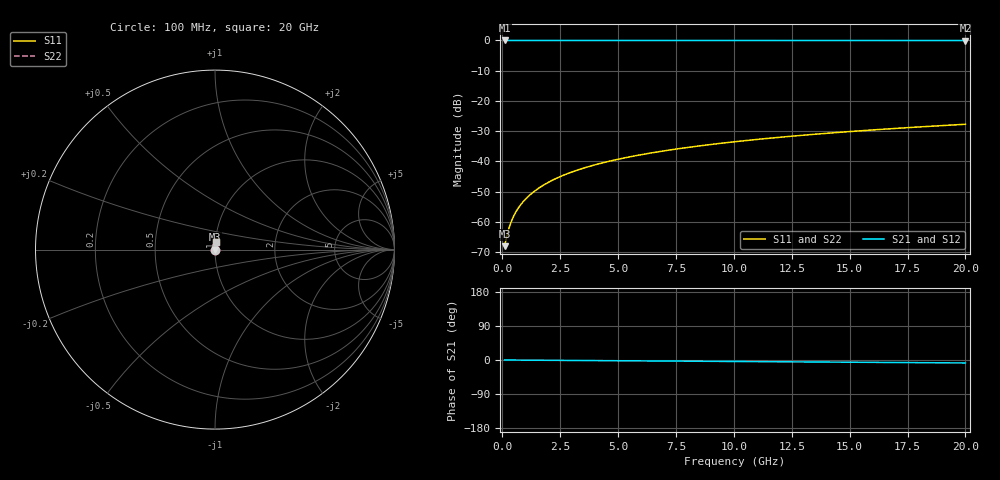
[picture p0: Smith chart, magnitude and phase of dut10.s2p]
! Touchstone file exported from HFSS 2026.1.0
!  File:  C:/ffzhzh/LocalFiles/Ansys_Project_Files/temp_test_TSV_10_1782978200_45568.aedt
!  Generated:  03:44:54 PM Jul  2, 2026
!  Design:  TSV
!  Project:  temp_test_TSV_10_1782978200_45568
! Variables:
!  h_bsmrdl = 2um
!  h_ox = 20um
!  h_rdl = 5um
!  h_sub = 74.31um
!  h_tmrdl = 5um
!  h_tsv = 74.31um
!  h_via = 3um
!  l_bsmrdl = 300um
!  l_sub = 411.18um
!  l_tmrdl = 200um
!  m_sub = 200um
!  pitch = 34.57um
!  r_tsv = 5.59um
!  s_tmrdl = 10um
!  w_bsmrdl = 18um
!  w_sub = 500um
!  w_tmrdl = 12um
!  x_tsv_center1 = 206um
!  x_tsv_center2 = 524um
!  x_tsv_center3 = 736um
!  x_tsv_center4 = 1054um
!  x_tsv_center5 = 1266um
!  x_tsv_center6 = 1584um
# GHz S MA R 50.000000
! Terminal data exported
! Port[1] = TSV1_1_T1
! Port[2] = TSV1_1_T2
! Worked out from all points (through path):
!   200 points, 100 MHz to 20 GHz, reference 50 ohm
!   highest |S21| = 0.00 dB at 100 MHz (marker M1); lowest = 0.0 dB at 20 GHz (marker M2)
!   group delay of S21, straight-line fit = 1.08 ps
!   lowest |S11| = -68.1 dB at 100 MHz (marker M3), VSWR 1.00, Z = 50 + j0.0249 ohm
!   |S11| at or under -10 dB: start of sweep to end of sweep
!   |S22| runs from -68.1 to -27.7 dB; largest |S21 - S12| = 2.1e-15
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0.1  0.0003954 39.0  0.9997 -0.0  0.9997 -0.0  0.0003954 39.0
! Gamma 0 0 0 0
! Port Impedance 50 0 50 0
0.2  0.0005888 57.3  0.9997 -0.1  0.9997 -0.1  0.0005888 57.3
0.3  0.0008097 65.5  0.9997 -0.1  0.9997 -0.1  0.0008097 65.5
0.4  0.001036 70.0  0.9996 -0.2  0.9996 -0.2  0.001036 70.0
0.5  0.001263 72.6  0.9996 -0.2  0.9996 -0.2  0.001263 72.6
0.6  0.001487 74.4  0.9996 -0.2  0.9996 -0.2  0.001487 74.4
0.8  0.001929 76.8  0.9996 -0.3  0.9996 -0.3  0.001929 76.8
1.1  0.002582 78.9  0.9995 -0.4  0.9995 -0.4  0.002582 78.9
1.5  0.003446 80.6  0.9995 -0.6  0.9995 -0.6  0.003446 80.6
1.8  0.004092 81.4  0.9994 -0.7  0.9994 -0.7  0.004092 81.4
2.1  0.004736 81.9  0.9994 -0.8  0.9994 -0.8  0.004736 81.9
2.7  0.006018 82.5  0.9993 -1.1  0.9993 -1.1  0.006018 82.5
3.5  0.007712 82.9  0.9992 -1.4  0.9992 -1.4  0.007712 82.9
4.2  0.009178 83.1  0.9991 -1.7  0.9991 -1.7  0.009178 83.1
5  0.01084 83.1  0.999 -2.0  0.999 -2.0  0.01084 83.1
5.9  0.01269 83.1  0.9989 -2.3  0.9989 -2.3  0.01269 83.1
6.8  0.01453 83.0  0.9988 -2.7  0.9988 -2.7  0.01453 83.0
8.3  0.01759 82.8  0.9986 -3.2  0.9986 -3.2  0.01759 82.8
10.1  0.02124 82.5  0.9984 -3.9  0.9984 -3.9  0.02124 82.5
13.4  0.0279 81.7  0.9981 -5.2  0.9981 -5.2  0.0279 81.7
16.7  0.03451 80.7  0.9977 -6.5  0.9977 -6.5  0.03451 80.7
20  0.04107 79.6  0.9973 -7.8  0.9973 -7.8  0.04107 79.6
